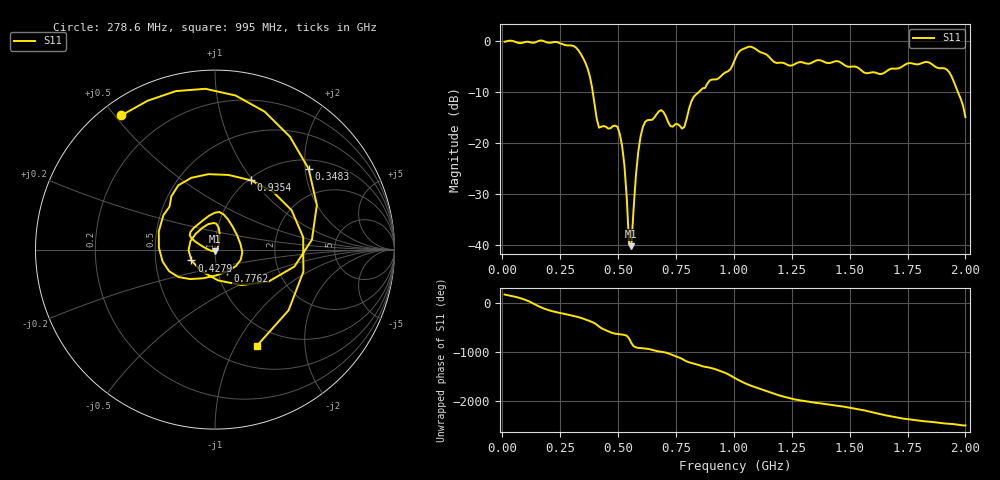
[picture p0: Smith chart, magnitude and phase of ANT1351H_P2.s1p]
!Created with skrf (http://scikit-rf.org).
# Hz S RI R 50.0
!freq ReS11 ImS11
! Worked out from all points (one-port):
!   201 points, 10 MHz to 2 GHz, reference 50 ohm
!   lowest |S11| = -40.2 dB at 557.2 MHz (marker M1), VSWR 1.02, Z = 49.9 - j0.967 ohm
!   |S11| at or under -10 dB: 390.9 MHz to 848 MHz (457.1 MHz wide, 73.8 % of centre); 1.968 GHz to end of sweep
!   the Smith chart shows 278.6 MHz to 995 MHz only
!   S11 on the Smith chart (normalised r, x): 278.6 MHz: 0.06, +0.52; 348.3 MHz: 1.22, +2.09; 427.9 MHz: 0.76, -0.09; 776.1 MHz: 1.11, -0.27; 935.4 MHz: 1.03, +0.98; 995 MHz: 0.75, -1.22
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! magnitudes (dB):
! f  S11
! 10 MHz  -0.1
! 258.8 MHz  -0.5
! 278.6 MHz  -0.8
! 348.3 MHz  -3.2
! 378.1 MHz  -6.9
! 417.9 MHz  -17.0
! 427.9 MHz  -16.8
! 507.5 MHz  -18.2
! 527.4 MHz  -24.4
! 547.3 MHz  -39.6
! 557.2 MHz  -40.2
! 577.1 MHz  -26.3
! 607 MHz  -16.8
! 686.6 MHz  -13.5
! 726.4 MHz  -16.7
! 756.2 MHz  -16.2
! 776.1 MHz  -17.1
! 825.9 MHz  -11.0
! 935.4 MHz  -7.2
! 995 MHz  -4.6
! 1.005 GHz  -3.5
! 1.075 GHz  -1.1
! 1.254 GHz  -4.7
! 1.502 GHz  -5.0
! 1.632 GHz  -6.4
! 1.751 GHz  -4.3
! 1.92 GHz  -5.6
! 2 GHz  -14.9
